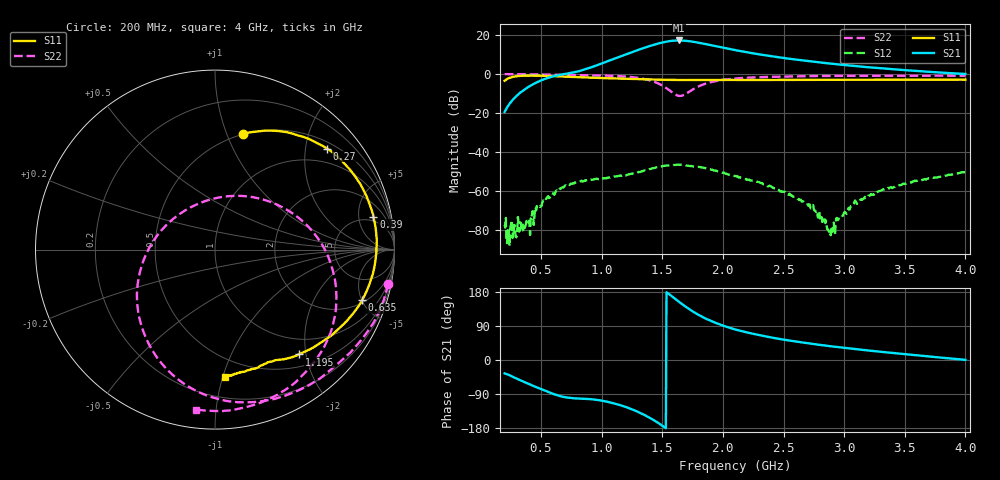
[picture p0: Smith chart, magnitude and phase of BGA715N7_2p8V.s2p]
! Infineon Technologies AG
! BGA715L7 Noise Paramater at Vcc=2.8V and PON=2.8V
! Schematics and reference plane
! Date: Thursday, January 29, 2009
! S2P File: S11, S21, S12, S22:
# GHz S MA R 50
!Freq  MagS11  AngS11  MagS21  AngS21  MagS12  AngS12  MagS22  AngS22
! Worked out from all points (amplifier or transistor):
!   761 points, 200 MHz to 4 GHz, reference 50 ohm
!   highest |S21| = 17.1 dB at 1.64 GHz (marker M1)
!   |S21| within 3 dB of that: 1.389 GHz to 1.947 GHz (558.1 MHz wide, 33.5 % of centre)
!   unconditionally stable (mu >= 1): start of sweep to end of sweep
!   at 830 MHz: K = 11.11, MAG = 14.9 dB, |S12| = -55.0 dB
!   at 2.1 GHz: K = 11.59, MAG = 18.6 dB, |S12| = -52.3 dB
!   at 4 GHz: K = 15.65, MAG = 10.3 dB, |S12| = -50.5 dB
!   lowest NFmin = 0.52 dB at 1.575 GHz
!   S11 on the Smith chart (normalised r, x): 200 MHz: 0.50, +1.14; 270 MHz: 0.64, +2.46; 390 MHz: 4.03, +7.76; 635 MHz: 2.21, -5.03; 1.195 GHz: 0.70, -1.87; 4 GHz: 0.35, -1.01
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0.2  0.6631 76.6  0.1054 -35.3  0.0001356 49.4  0.9827 -11.3
0.27  0.8411 42.0  0.2211 -44.7  9.956e-05 -155.4  0.9817 -15.3
0.39  0.9009 11.6  0.4497 -62.0  0.0001692 161.4  0.976 -22.2
0.635  0.867 -19.0  0.9145 -93.0  0.0009777 165.5  0.9485 -36.5
0.835  0.8143 -33.8  1.223 -101.9  0.001839 127.9  0.9269 -49.1
1.035  0.7738 -44.5  2.023 -109.3  0.002092 110.2  0.9007 -65.2
1.195  0.7486 -51.3  3.118 -123.5  0.002513 103.5  0.8553 -82.8
1.355  0.7244 -57.2  4.697 -145.4  0.003355 96.1  0.7353 -108.9
1.415  0.7154 -58.9  5.387 -155.9  0.003787 89.6  0.6556 -122.8
1.47  0.7073 -60.3  6.028 -166.7  0.004102 82.3  0.5624 -138.9
1.56  0.7006 -62.3  6.902 172.9  0.004563 68.3  0.3772 -178.2
1.64  0.6969 -63.9  7.179 153.2  0.00473 55.6  0.272 120.7
1.725  0.694 -65.5  6.86 133.7  0.00435 41.2  0.3537 56.3
1.805  0.6949 -66.9  6.239 118.2  0.004094 31.4  0.4859 23.2
1.94  0.6978 -69.4  5.134 98.1  0.003317 14.3  0.6514 -7.2
2.1  0.6966 -72.5  4.073 80.7  0.00243 4.0  0.758 -27.8
2.37  0.6996 -76.1  2.931 61.3  0.001305 -7.6  0.8357 -48.5
2.735  0.7 -79.8  2.065 42.8  0.0003688 -19.0  0.8765 -65.2
2.875  0.7014 -80.7  1.849 36.9  8.937e-05 -66.3  0.8846 -70.0
3.085  0.7047 -82.1  1.593 29.0  0.0005276 -178.4  0.892 -76.0
3.37  0.7082 -83.4  1.335 19.5  0.001161 170.3  0.8981 -82.8
4  0.7112 -85.7  0.9946 0.4  0.002988 157.2  0.897 -96.6
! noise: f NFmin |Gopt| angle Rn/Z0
1.575  0.52  0.54  60  0.21
